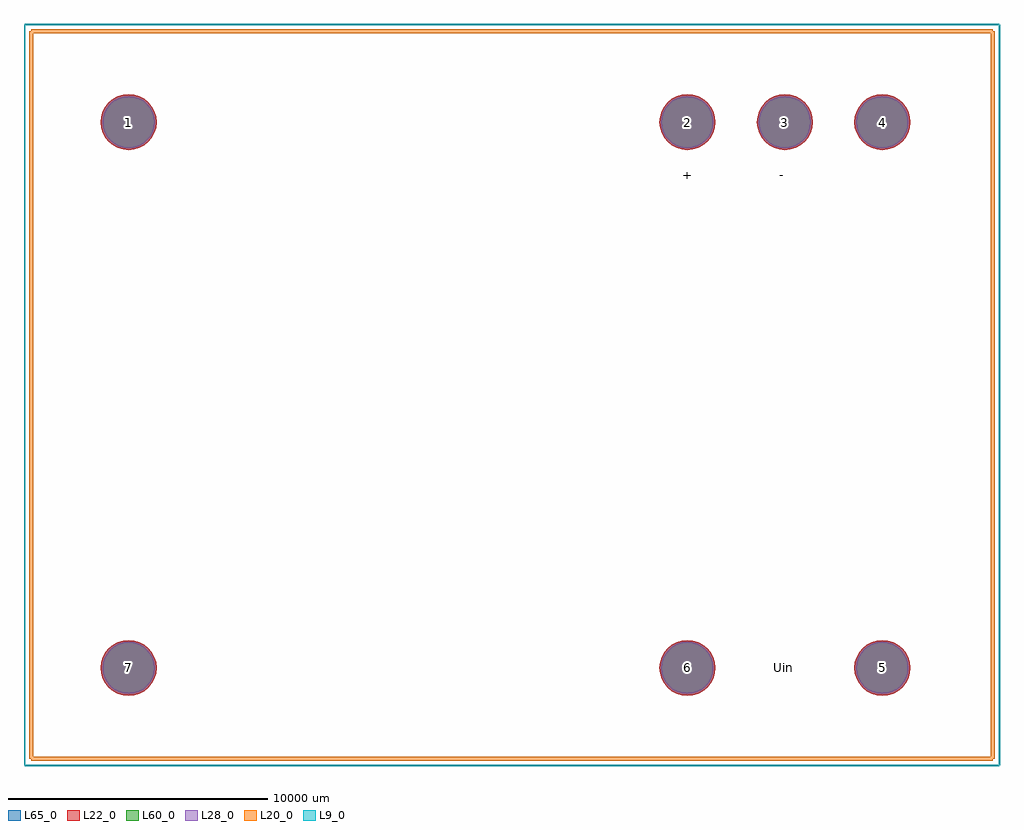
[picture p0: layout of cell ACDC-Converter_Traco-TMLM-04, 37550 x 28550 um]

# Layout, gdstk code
import gdstk
lib = gdstk.Library(unit=1e-6, precision=1e-09)
def P(c, l, *ps):  # polygons
    for p in ps: c.add(gdstk.Polygon(p, *l))
L9_0 = (9, 0)
L20_0 = (20, 0)
L22_0 = (22, 0)
L28_0 = (28, 0)
L60_0 = (60, 0)
L65_0 = (65, 0)

acdc_converter_traco_tml = lib.new_cell('ACDC-Converter_Traco-TMLM-04')
P(acdc_converter_traco_tml, L22_0, [(30073.69,-21000.8),(30053.044,-20791.177),(29991.899,-20589.61),(29892.606,-20403.845),(29758.979,-20241.021),(29596.155,-20107.394),(29410.39,-20008.101),(29208.823,-19946.956),(28999.2,-19926.31),(28789.577,-19946.956),(28588.01,-20008.101),(28402.245,-20107.394),(28239.421,-20241.021),(28105.794,-20403.845),(28006.501,-20589.61),(27945.356,-20791.177),(27924.71,-21000.8),(27945.356,-21210.423),(28006.501,-21411.99),(28105.794,-21597.755),(28239.421,-21760.579),(28402.245,-21894.206),(28588.01,-21993.499),(28789.577,-22054.644),(28999.2,-22075.29),(29208.823,-22054.644),(29410.39,-21993.499),(29596.155,-21894.206),(29758.979,-21760.579),(29892.606,-21597.755),(29991.899,-21411.99),(30053.044,-21210.423)],
  [(30073.69,0),(30053.044,209.623),(29991.899,411.19),(29892.606,596.955),(29758.979,759.779),(29596.155,893.406),(29410.39,992.699),(29208.823,1053.844),(28999.2,1074.49),(28789.577,1053.844),(28588.01,992.699),(28402.245,893.406),(28239.421,759.779),(28105.794,596.955),(28006.501,411.19),(27945.356,209.623),(27924.71,0),(27945.356,-209.623),(28006.501,-411.19),(28105.794,-596.955),(28239.421,-759.779),(28402.245,-893.406),(28588.01,-992.699),(28789.577,-1053.844),(28999.2,-1074.49),(29208.823,-1053.844),(29410.39,-992.699),(29596.155,-893.406),(29758.979,-759.779),(29892.606,-596.955),(29991.899,-411.19),(30053.044,-209.623)],
  [(26324.69,0),(26304.044,209.623),(26242.899,411.19),(26143.606,596.955),(26009.979,759.779),(25847.155,893.406),(25661.39,992.699),(25459.823,1053.844),(25250.2,1074.49),(25040.577,1053.844),(24839.01,992.699),(24653.245,893.406),(24490.421,759.779),(24356.794,596.955),(24257.501,411.19),(24196.356,209.623),(24175.71,0),(24196.356,-209.623),(24257.501,-411.19),(24356.794,-596.955),(24490.421,-759.779),(24653.245,-893.406),(24839.01,-992.699),(25040.577,-1053.844),(25250.2,-1074.49),(25459.823,-1053.844),(25661.39,-992.699),(25847.155,-893.406),(26009.979,-759.779),(26143.606,-596.955),(26242.899,-411.19),(26304.044,-209.623)],
  [(22573.09,-21000.8),(22552.444,-20791.177),(22491.299,-20589.61),(22392.006,-20403.845),(22258.379,-20241.021),(22095.555,-20107.394),(21909.79,-20008.101),(21708.223,-19946.956),(21498.6,-19926.31),(21288.977,-19946.956),(21087.41,-20008.101),(20901.645,-20107.394),(20738.821,-20241.021),(20605.194,-20403.845),(20505.901,-20589.61),(20444.756,-20791.177),(20424.11,-21000.8),(20444.756,-21210.423),(20505.901,-21411.99),(20605.194,-21597.755),(20738.821,-21760.579),(20901.645,-21894.206),(21087.41,-21993.499),(21288.977,-22054.644),(21498.6,-22075.29),(21708.223,-22054.644),(21909.79,-21993.499),(22095.555,-21894.206),(22258.379,-21760.579),(22392.006,-21597.755),(22491.299,-21411.99),(22552.444,-21210.423)],
  [(22573.09,0),(22552.444,209.623),(22491.299,411.19),(22392.006,596.955),(22258.379,759.779),(22095.555,893.406),(21909.79,992.699),(21708.223,1053.844),(21498.6,1074.49),(21288.977,1053.844),(21087.41,992.699),(20901.645,893.406),(20738.821,759.779),(20605.194,596.955),(20505.901,411.19),(20444.756,209.623),(20424.11,0),(20444.756,-209.623),(20505.901,-411.19),(20605.194,-596.955),(20738.821,-759.779),(20901.645,-893.406),(21087.41,-992.699),(21288.977,-1053.844),(21498.6,-1074.49),(21708.223,-1053.844),(21909.79,-992.699),(22095.555,-893.406),(22258.379,-759.779),(22392.006,-596.955),(22491.299,-411.19),(22552.444,-209.623)],
  [(1074.49,-21000.8),(1053.844,-20791.177),(992.699,-20589.61),(893.406,-20403.845),(759.779,-20241.021),(596.955,-20107.394),(411.19,-20008.101),(209.623,-19946.956),(0,-19926.31),(-209.623,-19946.956),(-411.19,-20008.101),(-596.955,-20107.394),(-759.779,-20241.021),(-893.406,-20403.845),(-992.699,-20589.61),(-1053.844,-20791.177),(-1074.49,-21000.8),(-1053.844,-21210.423),(-992.699,-21411.99),(-893.406,-21597.755),(-759.779,-21760.579),(-596.955,-21894.206),(-411.19,-21993.499),(-209.623,-22054.644),(0,-22075.29),(209.623,-22054.644),(411.19,-21993.499),(596.955,-21894.206),(759.779,-21760.579),(893.406,-21597.755),(992.699,-21411.99),(1053.844,-21210.423)],
  [(1074.49,0),(1053.844,209.623),(992.699,411.19),(893.406,596.955),(759.779,759.779),(596.955,893.406),(411.19,992.699),(209.623,1053.844),(0,1074.49),(-209.623,1053.844),(-411.19,992.699),(-596.955,893.406),(-759.779,759.779),(-893.406,596.955),(-992.699,411.19),(-1053.844,209.623),(-1074.49,0),(-1053.844,-209.623),(-992.699,-411.19),(-893.406,-596.955),(-759.779,-759.779),(-596.955,-893.406),(-411.19,-992.699),(-209.623,-1053.844),(0,-1074.49),(209.623,-1053.844),(411.19,-992.699),(596.955,-893.406),(759.779,-759.779),(893.406,-596.955),(992.699,-411.19),(1053.844,-209.623)])
P(acdc_converter_traco_tml, L28_0, [(29998.69,-21000.8),(29979.485,-20805.809),(29922.608,-20618.312),(29830.246,-20445.513),(29705.946,-20294.054),(29554.487,-20169.754),(29381.688,-20077.392),(29194.191,-20020.515),(28999.2,-20001.31),(28804.209,-20020.515),(28616.712,-20077.392),(28443.913,-20169.754),(28292.454,-20294.054),(28168.154,-20445.513),(28075.792,-20618.312),(28018.915,-20805.809),(27999.71,-21000.8),(28018.915,-21195.791),(28075.792,-21383.288),(28168.154,-21556.087),(28292.454,-21707.546),(28443.913,-21831.846),(28616.712,-21924.208),(28804.209,-21981.085),(28999.2,-22000.29),(29194.191,-21981.085),(29381.688,-21924.208),(29554.487,-21831.846),(29705.946,-21707.546),(29830.246,-21556.087),(29922.608,-21383.288),(29979.485,-21195.791)],
  [(29998.69,0),(29979.485,194.991),(29922.608,382.488),(29830.246,555.287),(29705.946,706.746),(29554.487,831.046),(29381.688,923.408),(29194.191,980.285),(28999.2,999.49),(28804.209,980.285),(28616.712,923.408),(28443.913,831.046),(28292.454,706.746),(28168.154,555.287),(28075.792,382.488),(28018.915,194.991),(27999.71,0),(28018.915,-194.991),(28075.792,-382.488),(28168.154,-555.287),(28292.454,-706.746),(28443.913,-831.046),(28616.712,-923.408),(28804.209,-980.285),(28999.2,-999.49),(29194.191,-980.285),(29381.688,-923.408),(29554.487,-831.046),(29705.946,-706.746),(29830.246,-555.287),(29922.608,-382.488),(29979.485,-194.991)],
  [(26249.69,0),(26230.485,194.991),(26173.608,382.488),(26081.246,555.287),(25956.946,706.746),(25805.487,831.046),(25632.688,923.408),(25445.191,980.285),(25250.2,999.49),(25055.209,980.285),(24867.712,923.408),(24694.913,831.046),(24543.454,706.746),(24419.154,555.287),(24326.792,382.488),(24269.915,194.991),(24250.71,0),(24269.915,-194.991),(24326.792,-382.488),(24419.154,-555.287),(24543.454,-706.746),(24694.913,-831.046),(24867.712,-923.408),(25055.209,-980.285),(25250.2,-999.49),(25445.191,-980.285),(25632.688,-923.408),(25805.487,-831.046),(25956.946,-706.746),(26081.246,-555.287),(26173.608,-382.488),(26230.485,-194.991)],
  [(22498.09,-21000.8),(22478.885,-20805.809),(22422.008,-20618.312),(22329.646,-20445.513),(22205.346,-20294.054),(22053.887,-20169.754),(21881.088,-20077.392),(21693.591,-20020.515),(21498.6,-20001.31),(21303.609,-20020.515),(21116.112,-20077.392),(20943.313,-20169.754),(20791.854,-20294.054),(20667.554,-20445.513),(20575.192,-20618.312),(20518.315,-20805.809),(20499.11,-21000.8),(20518.315,-21195.791),(20575.192,-21383.288),(20667.554,-21556.087),(20791.854,-21707.546),(20943.313,-21831.846),(21116.112,-21924.208),(21303.609,-21981.085),(21498.6,-22000.29),(21693.591,-21981.085),(21881.088,-21924.208),(22053.887,-21831.846),(22205.346,-21707.546),(22329.646,-21556.087),(22422.008,-21383.288),(22478.885,-21195.791)],
  [(22498.09,0),(22478.885,194.991),(22422.008,382.488),(22329.646,555.287),(22205.346,706.746),(22053.887,831.046),(21881.088,923.408),(21693.591,980.285),(21498.6,999.49),(21303.609,980.285),(21116.112,923.408),(20943.313,831.046),(20791.854,706.746),(20667.554,555.287),(20575.192,382.488),(20518.315,194.991),(20499.11,0),(20518.315,-194.991),(20575.192,-382.488),(20667.554,-555.287),(20791.854,-706.746),(20943.313,-831.046),(21116.112,-923.408),(21303.609,-980.285),(21498.6,-999.49),(21693.591,-980.285),(21881.088,-923.408),(22053.887,-831.046),(22205.346,-706.746),(22329.646,-555.287),(22422.008,-382.488),(22478.885,-194.991)],
  [(999.49,-21000.8),(980.285,-20805.809),(923.408,-20618.312),(831.046,-20445.513),(706.746,-20294.054),(555.287,-20169.754),(382.488,-20077.392),(194.991,-20020.515),(0,-20001.31),(-194.991,-20020.515),(-382.488,-20077.392),(-555.287,-20169.754),(-706.746,-20294.054),(-831.046,-20445.513),(-923.408,-20618.312),(-980.285,-20805.809),(-999.49,-21000.8),(-980.285,-21195.791),(-923.408,-21383.288),(-831.046,-21556.087),(-706.746,-21707.546),(-555.287,-21831.846),(-382.488,-21924.208),(-194.991,-21981.085),(0,-22000.29),(194.991,-21981.085),(382.488,-21924.208),(555.287,-21831.846),(706.746,-21707.546),(831.046,-21556.087),(923.408,-21383.288),(980.285,-21195.791)],
  [(999.49,0),(980.285,194.991),(923.408,382.488),(831.046,555.287),(706.746,706.746),(555.287,831.046),(382.488,923.408),(194.991,980.285),(0,999.49),(-194.991,980.285),(-382.488,923.408),(-555.287,831.046),(-706.746,706.746),(-831.046,555.287),(-923.408,382.488),(-980.285,194.991),(-999.49,0),(-980.285,-194.991),(-923.408,-382.488),(-831.046,-555.287),(-706.746,-706.746),(-555.287,-831.046),(-382.488,-923.408),(-194.991,-980.285),(0,-999.49),(194.991,-980.285),(382.488,-923.408),(555.287,-831.046),(706.746,-706.746),(831.046,-555.287),(923.408,-382.488),(980.285,-194.991)])
P(acdc_converter_traco_tml, L60_0, [(29998.69,-21000.8),(29979.485,-20805.809),(29922.608,-20618.312),(29830.246,-20445.513),(29705.946,-20294.054),(29554.487,-20169.754),(29381.688,-20077.392),(29194.191,-20020.515),(28999.2,-20001.31),(28804.209,-20020.515),(28616.712,-20077.392),(28443.913,-20169.754),(28292.454,-20294.054),(28168.154,-20445.513),(28075.792,-20618.312),(28018.915,-20805.809),(27999.71,-21000.8),(28018.915,-21195.791),(28075.792,-21383.288),(28168.154,-21556.087),(28292.454,-21707.546),(28443.913,-21831.846),(28616.712,-21924.208),(28804.209,-21981.085),(28999.2,-22000.29),(29194.191,-21981.085),(29381.688,-21924.208),(29554.487,-21831.846),(29705.946,-21707.546),(29830.246,-21556.087),(29922.608,-21383.288),(29979.485,-21195.791)],
  [(29998.69,0),(29979.485,194.991),(29922.608,382.488),(29830.246,555.287),(29705.946,706.746),(29554.487,831.046),(29381.688,923.408),(29194.191,980.285),(28999.2,999.49),(28804.209,980.285),(28616.712,923.408),(28443.913,831.046),(28292.454,706.746),(28168.154,555.287),(28075.792,382.488),(28018.915,194.991),(27999.71,0),(28018.915,-194.991),(28075.792,-382.488),(28168.154,-555.287),(28292.454,-706.746),(28443.913,-831.046),(28616.712,-923.408),(28804.209,-980.285),(28999.2,-999.49),(29194.191,-980.285),(29381.688,-923.408),(29554.487,-831.046),(29705.946,-706.746),(29830.246,-555.287),(29922.608,-382.488),(29979.485,-194.991)],
  [(26249.69,0),(26230.485,194.991),(26173.608,382.488),(26081.246,555.287),(25956.946,706.746),(25805.487,831.046),(25632.688,923.408),(25445.191,980.285),(25250.2,999.49),(25055.209,980.285),(24867.712,923.408),(24694.913,831.046),(24543.454,706.746),(24419.154,555.287),(24326.792,382.488),(24269.915,194.991),(24250.71,0),(24269.915,-194.991),(24326.792,-382.488),(24419.154,-555.287),(24543.454,-706.746),(24694.913,-831.046),(24867.712,-923.408),(25055.209,-980.285),(25250.2,-999.49),(25445.191,-980.285),(25632.688,-923.408),(25805.487,-831.046),(25956.946,-706.746),(26081.246,-555.287),(26173.608,-382.488),(26230.485,-194.991)],
  [(22498.09,-21000.8),(22478.885,-20805.809),(22422.008,-20618.312),(22329.646,-20445.513),(22205.346,-20294.054),(22053.887,-20169.754),(21881.088,-20077.392),(21693.591,-20020.515),(21498.6,-20001.31),(21303.609,-20020.515),(21116.112,-20077.392),(20943.313,-20169.754),(20791.854,-20294.054),(20667.554,-20445.513),(20575.192,-20618.312),(20518.315,-20805.809),(20499.11,-21000.8),(20518.315,-21195.791),(20575.192,-21383.288),(20667.554,-21556.087),(20791.854,-21707.546),(20943.313,-21831.846),(21116.112,-21924.208),(21303.609,-21981.085),(21498.6,-22000.29),(21693.591,-21981.085),(21881.088,-21924.208),(22053.887,-21831.846),(22205.346,-21707.546),(22329.646,-21556.087),(22422.008,-21383.288),(22478.885,-21195.791)],
  [(22498.09,0),(22478.885,194.991),(22422.008,382.488),(22329.646,555.287),(22205.346,706.746),(22053.887,831.046),(21881.088,923.408),(21693.591,980.285),(21498.6,999.49),(21303.609,980.285),(21116.112,923.408),(20943.313,831.046),(20791.854,706.746),(20667.554,555.287),(20575.192,382.488),(20518.315,194.991),(20499.11,0),(20518.315,-194.991),(20575.192,-382.488),(20667.554,-555.287),(20791.854,-706.746),(20943.313,-831.046),(21116.112,-923.408),(21303.609,-980.285),(21498.6,-999.49),(21693.591,-980.285),(21881.088,-923.408),(22053.887,-831.046),(22205.346,-706.746),(22329.646,-555.287),(22422.008,-382.488),(22478.885,-194.991)],
  [(999.49,-21000.8),(980.285,-20805.809),(923.408,-20618.312),(831.046,-20445.513),(706.746,-20294.054),(555.287,-20169.754),(382.488,-20077.392),(194.991,-20020.515),(0,-20001.31),(-194.991,-20020.515),(-382.488,-20077.392),(-555.287,-20169.754),(-706.746,-20294.054),(-831.046,-20445.513),(-923.408,-20618.312),(-980.285,-20805.809),(-999.49,-21000.8),(-980.285,-21195.791),(-923.408,-21383.288),(-831.046,-21556.087),(-706.746,-21707.546),(-555.287,-21831.846),(-382.488,-21924.208),(-194.991,-21981.085),(0,-22000.29),(194.991,-21981.085),(382.488,-21924.208),(555.287,-21831.846),(706.746,-21707.546),(831.046,-21556.087),(923.408,-21383.288),(980.285,-21195.791)],
  [(999.49,0),(980.285,194.991),(923.408,382.488),(831.046,555.287),(706.746,706.746),(555.287,831.046),(382.488,923.408),(194.991,980.285),(0,999.49),(-194.991,980.285),(-382.488,923.408),(-555.287,831.046),(-706.746,706.746),(-831.046,555.287),(-923.408,382.488),(-980.285,194.991),(-999.49,0),(-980.285,-194.991),(-923.408,-382.488),(-831.046,-555.287),(-706.746,-706.746),(-555.287,-831.046),(-382.488,-923.408),(-194.991,-980.285),(0,-999.49),(194.991,-980.285),(382.488,-923.408),(555.287,-831.046),(706.746,-706.746),(831.046,-555.287),(923.408,-382.488),(980.285,-194.991)])
P(acdc_converter_traco_tml, L65_0, [(30073.69,-21000.8),(30053.044,-20791.177),(29991.899,-20589.61),(29892.606,-20403.845),(29758.979,-20241.021),(29596.155,-20107.394),(29410.39,-20008.101),(29208.823,-19946.956),(28999.2,-19926.31),(28789.577,-19946.956),(28588.01,-20008.101),(28402.245,-20107.394),(28239.421,-20241.021),(28105.794,-20403.845),(28006.501,-20589.61),(27945.356,-20791.177),(27924.71,-21000.8),(27945.356,-21210.423),(28006.501,-21411.99),(28105.794,-21597.755),(28239.421,-21760.579),(28402.245,-21894.206),(28588.01,-21993.499),(28789.577,-22054.644),(28999.2,-22075.29),(29208.823,-22054.644),(29410.39,-21993.499),(29596.155,-21894.206),(29758.979,-21760.579),(29892.606,-21597.755),(29991.899,-21411.99),(30053.044,-21210.423)],
  [(30073.69,0),(30053.044,209.623),(29991.899,411.19),(29892.606,596.955),(29758.979,759.779),(29596.155,893.406),(29410.39,992.699),(29208.823,1053.844),(28999.2,1074.49),(28789.577,1053.844),(28588.01,992.699),(28402.245,893.406),(28239.421,759.779),(28105.794,596.955),(28006.501,411.19),(27945.356,209.623),(27924.71,0),(27945.356,-209.623),(28006.501,-411.19),(28105.794,-596.955),(28239.421,-759.779),(28402.245,-893.406),(28588.01,-992.699),(28789.577,-1053.844),(28999.2,-1074.49),(29208.823,-1053.844),(29410.39,-992.699),(29596.155,-893.406),(29758.979,-759.779),(29892.606,-596.955),(29991.899,-411.19),(30053.044,-209.623)],
  [(26324.69,0),(26304.044,209.623),(26242.899,411.19),(26143.606,596.955),(26009.979,759.779),(25847.155,893.406),(25661.39,992.699),(25459.823,1053.844),(25250.2,1074.49),(25040.577,1053.844),(24839.01,992.699),(24653.245,893.406),(24490.421,759.779),(24356.794,596.955),(24257.501,411.19),(24196.356,209.623),(24175.71,0),(24196.356,-209.623),(24257.501,-411.19),(24356.794,-596.955),(24490.421,-759.779),(24653.245,-893.406),(24839.01,-992.699),(25040.577,-1053.844),(25250.2,-1074.49),(25459.823,-1053.844),(25661.39,-992.699),(25847.155,-893.406),(26009.979,-759.779),(26143.606,-596.955),(26242.899,-411.19),(26304.044,-209.623)],
  [(22573.09,-21000.8),(22552.444,-20791.177),(22491.299,-20589.61),(22392.006,-20403.845),(22258.379,-20241.021),(22095.555,-20107.394),(21909.79,-20008.101),(21708.223,-19946.956),(21498.6,-19926.31),(21288.977,-19946.956),(21087.41,-20008.101),(20901.645,-20107.394),(20738.821,-20241.021),(20605.194,-20403.845),(20505.901,-20589.61),(20444.756,-20791.177),(20424.11,-21000.8),(20444.756,-21210.423),(20505.901,-21411.99),(20605.194,-21597.755),(20738.821,-21760.579),(20901.645,-21894.206),(21087.41,-21993.499),(21288.977,-22054.644),(21498.6,-22075.29),(21708.223,-22054.644),(21909.79,-21993.499),(22095.555,-21894.206),(22258.379,-21760.579),(22392.006,-21597.755),(22491.299,-21411.99),(22552.444,-21210.423)],
  [(22573.09,0),(22552.444,209.623),(22491.299,411.19),(22392.006,596.955),(22258.379,759.779),(22095.555,893.406),(21909.79,992.699),(21708.223,1053.844),(21498.6,1074.49),(21288.977,1053.844),(21087.41,992.699),(20901.645,893.406),(20738.821,759.779),(20605.194,596.955),(20505.901,411.19),(20444.756,209.623),(20424.11,0),(20444.756,-209.623),(20505.901,-411.19),(20605.194,-596.955),(20738.821,-759.779),(20901.645,-893.406),(21087.41,-992.699),(21288.977,-1053.844),(21498.6,-1074.49),(21708.223,-1053.844),(21909.79,-992.699),(22095.555,-893.406),(22258.379,-759.779),(22392.006,-596.955),(22491.299,-411.19),(22552.444,-209.623)],
  [(1074.49,-21000.8),(1053.844,-20791.177),(992.699,-20589.61),(893.406,-20403.845),(759.779,-20241.021),(596.955,-20107.394),(411.19,-20008.101),(209.623,-19946.956),(0,-19926.31),(-209.623,-19946.956),(-411.19,-20008.101),(-596.955,-20107.394),(-759.779,-20241.021),(-893.406,-20403.845),(-992.699,-20589.61),(-1053.844,-20791.177),(-1074.49,-21000.8),(-1053.844,-21210.423),(-992.699,-21411.99),(-893.406,-21597.755),(-759.779,-21760.579),(-596.955,-21894.206),(-411.19,-21993.499),(-209.623,-22054.644),(0,-22075.29),(209.623,-22054.644),(411.19,-21993.499),(596.955,-21894.206),(759.779,-21760.579),(893.406,-21597.755),(992.699,-21411.99),(1053.844,-21210.423)],
  [(1074.49,0),(1053.844,209.623),(992.699,411.19),(893.406,596.955),(759.779,759.779),(596.955,893.406),(411.19,992.699),(209.623,1053.844),(0,1074.49),(-209.623,1053.844),(-411.19,992.699),(-596.955,893.406),(-759.779,759.779),(-893.406,596.955),(-992.699,411.19),(-1053.844,209.623),(-1074.49,0),(-1053.844,-209.623),(-992.699,-411.19),(-893.406,-596.955),(-759.779,-759.779),(-596.955,-893.406),(-411.19,-992.699),(-209.623,-1053.844),(0,-1074.49),(209.623,-1053.844),(411.19,-992.699),(596.955,-893.406),(759.779,-759.779),(893.406,-596.955),(992.699,-411.19),(1053.844,-209.623)])
acdc_converter_traco_tml.add(gdstk.FlexPath([(-3749,-24500.9),(32750.8,-24500.9)], 149.998, ends="flush", simple_path=True, layer=20, datatype=0))  # L20_0
acdc_converter_traco_tml.add(gdstk.FlexPath([(-3749,3500.1),(-3749,-24500.9)], 149.998, ends="flush", simple_path=True, layer=20, datatype=0))  # L20_0
acdc_converter_traco_tml.add(gdstk.FlexPath([(33248.6,3500.1),(-3749,3500.1)], 149.998, ends="flush", simple_path=True, layer=20, datatype=0))  # L20_0
acdc_converter_traco_tml.add(gdstk.FlexPath([(33248.6,-24500.9),(33248.6,3500.1)], 149.998, ends="flush", simple_path=True, layer=20, datatype=0))  # L20_0
acdc_converter_traco_tml.add(gdstk.FlexPath([(32750.8,-24500.9),(33248.6,-24500.9)], 149.998, ends="flush", simple_path=True, layer=20, datatype=0))  # L20_0
acdc_converter_traco_tml.add(gdstk.FlexPath([(-4000,-24750),(33500,-24750)], 50, ends="flush", simple_path=True, layer=9, datatype=0))  # L9_0
acdc_converter_traco_tml.add(gdstk.FlexPath([(-4000,3750),(33500,3750)], 50, ends="flush", simple_path=True, layer=9, datatype=0))  # L9_0
acdc_converter_traco_tml.add(gdstk.FlexPath([(33500,3750),(33500,-24750)], 50, ends="flush", simple_path=True, layer=9, datatype=0))  # L9_0
acdc_converter_traco_tml.add(gdstk.FlexPath([(-4000,3750),(-4000,-24750)], 50, ends="flush", simple_path=True, layer=9, datatype=0))  # L9_0
acdc_converter_traco_tml.add(gdstk.Label('5', (28999.2,-21000.8), layer=28, texttype=0))
acdc_converter_traco_tml.add(gdstk.Label('4', (28999.2,0), layer=28, texttype=0))
acdc_converter_traco_tml.add(gdstk.Label('3', (25250.2,0), layer=28, texttype=0))
acdc_converter_traco_tml.add(gdstk.Label('6', (21498.6,-21000.8), layer=28, texttype=0))
acdc_converter_traco_tml.add(gdstk.Label('2', (21498.6,0), layer=28, texttype=0))
acdc_converter_traco_tml.add(gdstk.Label('7', (0,-21000.8), layer=28, texttype=0))
acdc_converter_traco_tml.add(gdstk.Label('1', (0,0), layer=28, texttype=0))
acdc_converter_traco_tml.add(gdstk.Label('+', (21500,-2000), layer=9, texttype=0))
acdc_converter_traco_tml.add(gdstk.Label('-', (25100,-2000), layer=9, texttype=0))
acdc_converter_traco_tml.add(gdstk.Label('Uin', (25200,-21000), layer=9, texttype=0))
acdc_converter_traco_tml.add(gdstk.Label('type', (0,5350), layer=9, texttype=0))
acdc_converter_traco_tml.add(gdstk.Label('devicename', (0,7350), layer=9, texttype=0))

lib.write_gds('ACDC-Converter_Traco-TMLM-04.gds')
